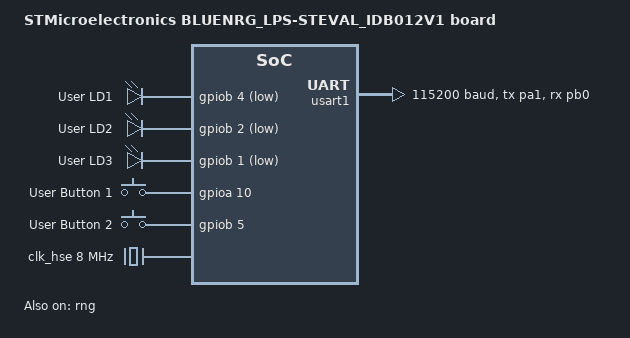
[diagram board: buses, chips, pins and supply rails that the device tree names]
/*
 * Copyright (c) 2024 STMicroelectronics
 *
 * SPDX-License-Identifier: Apache-2.0
 */

/dts-v1/;
#include <st/bluenrg/bluenrg_lps.dtsi>
#include <st/bluenrg_3/bluenrg-332.dtsi>

/ {
	model = "STMicroelectronics BLUENRG_LPS-STEVAL_IDB012V1 board";
	compatible = "st,bluenrg_lp-steval_idb012v1";

	chosen {
		zephyr,sram = &sram0;
		zephyr,flash = &flash0;
		zephyr,console = &usart1;
		zephyr,shell-uart = &usart1;
	};
	leds {
		compatible = "gpio-leds";
		green_led_2: led_3 {
			gpios = <&gpiob 4 GPIO_ACTIVE_LOW>;
			label = "User LD1";
		};
		red_led_2: led_4 {
			gpios = <&gpiob 2 GPIO_ACTIVE_LOW>;
			label = "User LD2";
		};
		rgb_led_1: led_5 {
			gpios = <&gpiob 1 GPIO_ACTIVE_LOW>;
			label = "User LD3";
		};
	};

	gpio_keys {
		compatible = "gpio-keys";
		user_button1: button1 {
			label = "User Button 1";
			gpios = <&gpioa 10 GPIO_ACTIVE_HIGH>;
		};
		user_button2: button2 {
			label = "User Button 2";
			gpios = <&gpiob 5 GPIO_ACTIVE_HIGH>;
		};
	};
	aliases {
		led0 = &green_led_2;
		led1 = &red_led_2;
		led2 = &rgb_led_1;
		sw0 = &user_button1;
		sw1 = &user_button2;
	};

};

&clk_hse {
	hse-bypass;
	clock-frequency = <DT_FREQ_M(8)>; /* to be reviewed, possibly ignored by code */
	status = "okay";
};

&pll {
	clocks = <&clk_hse>;
	mul = <8>;
	div = <2>;
	status = "okay";
};

&rcc {
	clocks = <&pll>;
	clock-frequency = <DT_FREQ_M(32)>;
	ahb-prescaler = <1>;
	apb1-prescaler = <1>;
	apb2-prescaler = <1>;
};

&usart1 {
	pinctrl-0 = <&usart1_tx_pa1 &usart1_rx_pb0>;
	pinctrl-names="default";
	current-speed = <115200>;
	status = "okay";
};

&gpiob {
	status = "okay";
};

&gpioa {
	status = "okay";
};

&flash0 {
	partitions {
		compatible = "fixed-partitions";
		#address-cells = <1>;
		#size-cells = <1>;

		/* Set 4KB of storage at the end of 192KB flash */
		storage_partition: partition@2f000 {
			label = "storage";
			reg = <0x0002f000 DT_SIZE_K(4)>;

		};
	};
};

&rng {
	status = "okay";
};

/*
 *
 * &adc1 {
 *	 status = "okay";
 * };
 *
 * &spi1 {
 *	 status = "okay";
 * };
 */
